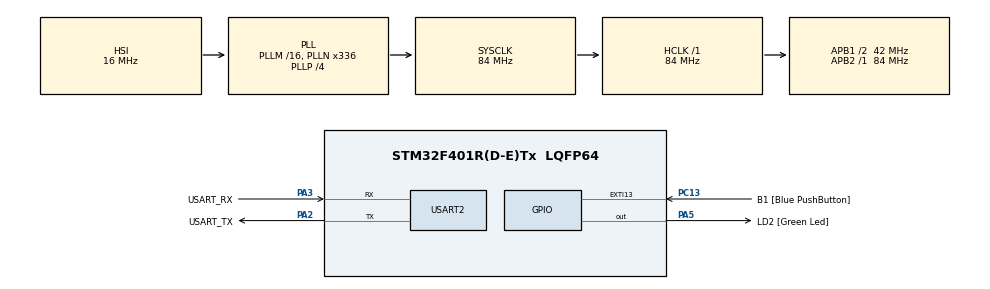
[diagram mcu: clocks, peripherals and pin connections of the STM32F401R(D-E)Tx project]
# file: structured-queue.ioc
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FREERTOS.Tasks01=defaultTask,0,128,StartDefaultTask,Default,NULL,Dynamic,NULL,NULL
FREERTOS.configUSE_NEWLIB_REENTRANT=1
Mcu.Family=STM32F4
Mcu.Name=STM32F401R(D-E)Tx
Mcu.Package=LQFP64
NVIC.PriorityGroup=NVIC_PRIORITYGROUP_4
NVIC.TIM1_UP_TIM10_IRQn=true\:15\:0\:false\:false\:true\:false\:false\:true\:true
NVIC.TimeBase=TIM1_UP_TIM10_IRQn
NVIC.TimeBaseIP=TIM1
PA13.GPIO_Label=TMS
PA13.Signal=SYS_JTMS-SWDIO
PA14.GPIO_Label=TCK
PA14.Signal=SYS_JTCK-SWCLK
PA2.GPIO_Label=USART_TX
PA2.GPIO_Mode=GPIO_MODE_AF_PP
PA2.GPIO_PuPd=GPIO_NOPULL
PA2.GPIO_Speed=GPIO_SPEED_FREQ_LOW
PA2.Mode=Asynchronous
PA2.Signal=USART2_TX
PA3.GPIO_Label=USART_RX
PA3.GPIO_Mode=GPIO_MODE_AF_PP
PA3.GPIO_PuPd=GPIO_NOPULL
PA3.GPIO_Speed=GPIO_SPEED_FREQ_LOW
PA3.Mode=Asynchronous
PA3.Signal=USART2_RX
PA5.GPIO_Label=LD2 [Green Led]
PA5.GPIO_Mode=GPIO_MODE_OUTPUT_PP
PA5.GPIO_PuPd=GPIO_NOPULL
PA5.GPIO_Speed=GPIO_SPEED_FREQ_LOW
PA5.Signal=GPIO_Output
PB3.GPIO_Label=SWO
PB3.Signal=SYS_JTDO-SWO
PC13-ANTI_TAMP.GPIO_Label=B1 [Blue PushButton]
PC13-ANTI_TAMP.GPIO_ModeDefaultEXTI=GPIO_MODE_IT_FALLING
PC13-ANTI_TAMP.GPIO_PuPd=GPIO_NOPULL
PC13-ANTI_TAMP.Signal=GPXTI13
PC14-OSC32_IN.Signal=RCC_OSC32_IN
PC15-OSC32_OUT.Signal=RCC_OSC32_OUT
PH0\ -\ OSC_IN.Mode=HSE-External-Oscillator
PH0\ -\ OSC_IN.Signal=RCC_OSC_IN
PH1\ -\ OSC_OUT.Mode=HSE-External-Oscillator
PH1\ -\ OSC_OUT.Signal=RCC_OSC_OUT
ProjectManager.HeapSize=0x200
ProjectManager.StackSize=0x400
ProjectManager.TargetToolchain=STM32CubeIDE
RCC.48MHZClocksFreq_Value=48000000
RCC.AHBFreq_Value=84000000
RCC.APB1CLKDivider=RCC_HCLK_DIV2
RCC.APB1Freq_Value=42000000
RCC.APB1TimFreq_Value=84000000
RCC.APB2Freq_Value=84000000
RCC.APB2TimFreq_Value=84000000
RCC.CortexFreq_Value=84000000
RCC.HCLKFreq_Value=84000000
RCC.HSE_VALUE=8000000
RCC.HSI_VALUE=16000000
RCC.PLLN=336
RCC.PLLP=RCC_PLLP_DIV4
RCC.PLLQ=7
RCC.SYSCLKFreq_VALUE=84000000
RCC.SYSCLKSource=RCC_SYSCLKSOURCE_PLLCLK
RCC.VCOOutputFreq_Value=336000000
USART2.VirtualMode=VM_ASYNC
VP_FREERTOS_VS_CMSIS_V1.Mode=CMSIS_V1
VP_SYS_VS_tim1.Mode=TIM1
board=NUCLEO-F401RE

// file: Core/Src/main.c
/* USER CODE BEGIN Header */
/**
  ******************************************************************************
  * @file           : main.c
  * @brief          : Main program body
  ******************************************************************************
  * @attention
  *
  * Copyright (c) 2026 STMicroelectronics.
  * All rights reserved.
  *
  * This software is licensed under terms that can be found in the LICENSE file
  * in the root directory of this software component.
  * If no LICENSE file comes with this software, it is provided AS-IS.
  *
  ******************************************************************************
  */
/* USER CODE END Header */
#include "main.h"
#include "cmsis_os.h"

/* USER CODE BEGIN Includes */
#include "FreeRTOS.h"
#include "task.h"
#include "timers.h"
#include "queue.h"
#include "semphr.h"
#include "event_groups.h"
#include "string.h"
#include "stdio.h"
/* USER CODE END Includes */

UART_HandleTypeDef huart2;

void SystemClock_Config(void);
static void MX_GPIO_Init(void);
static void MX_USART2_UART_Init(void);

/* USER CODE BEGIN 0 */

// Queue handler
xQueueHandle St_Queue_Handler;

// Task handler
xTaskHandle Sender1_Task_Handler;
xTaskHandle Sender2_Task_Handler;
xTaskHandle Receiver_Task_Handler;

// Task functions
void Sender1_Task (void *argument);
void Sender2_Task (void *argument);
void Receiver_Task (void *argument);

// Structure
typedef struct {
  char *str;
  int counter;
  uint16_t large_value;
} my_struct;

int indx1 = 0;
int indx2 = 0;

/* USER CODE END 0 */

int main(void)
{

  /* MCU Configuration--------------------------------------------------------*/

  /* Reset of all peripherals, Initializes the Flash interface and the Systick. */
  HAL_Init();

  /* Configure the system clock */
  SystemClock_Config();

  /* Initialize all configured peripherals */
  MX_GPIO_Init();
  MX_USART2_UART_Init();
  /* USER CODE BEGIN 2 */

  // create queue
  St_Queue_Handler = xQueueCreate(2, sizeof(my_struct));

  if (St_Queue_Handler == 0) // 0 means error
  {
    char *str = "Unable to create structure queue\r\n";
    HAL_UART_Transmit(&huart2, (uint8_t *)str, strlen(str), HAL_MAX_DELAY);
  }
  else
  {
    char *str = "Structure queue created successfully\r\n";
    HAL_UART_Transmit(&huart2, (uint8_t *)str, strlen(str), HAL_MAX_DELAY);
  }

  // create tasks
  xTaskCreate(Sender1_Task, "Sender1", 128, NULL, 2, &Sender1_Task_Handler);
  xTaskCreate(Sender2_Task, "Sender2", 128, NULL, 2, &Sender2_Task_Handler);
  xTaskCreate(Receiver_Task, "Receiver", 128, NULL, 1, &Receiver_Task_Handler);

  vTaskStartScheduler();

  /* USER CODE END 2 */

  /* Create the thread(s) */
  /* definition and creation of defaultTask */

  /* Start scheduler */

  /* We should never get here as control is now taken by the scheduler */

  /* Infinite loop */
  while (1)
  {

  }
}

void SystemClock_Config(void)
{
  RCC_OscInitTypeDef RCC_OscInitStruct = {0};
  RCC_ClkInitTypeDef RCC_ClkInitStruct = {0};

  /** Configure the main internal regulator output voltage
  */
  __HAL_RCC_PWR_CLK_ENABLE();
  __HAL_PWR_VOLTAGESCALING_CONFIG(PWR_REGULATOR_VOLTAGE_SCALE2);

  /** Initializes the RCC Oscillators according to the specified parameters
  * in the RCC_OscInitTypeDef structure.
  */
  RCC_OscInitStruct.OscillatorType = RCC_OSCILLATORTYPE_HSI;
  RCC_OscInitStruct.HSIState = RCC_HSI_ON;
  RCC_OscInitStruct.HSICalibrationValue = RCC_HSICALIBRATION_DEFAULT;
  RCC_OscInitStruct.PLL.PLLState = RCC_PLL_ON;
  RCC_OscInitStruct.PLL.PLLSource = RCC_PLLSOURCE_HSI;
  RCC_OscInitStruct.PLL.PLLM = 16;
  RCC_OscInitStruct.PLL.PLLN = 336;
  RCC_OscInitStruct.PLL.PLLP = RCC_PLLP_DIV4;
  RCC_OscInitStruct.PLL.PLLQ = 7;
  if (HAL_RCC_OscConfig(&RCC_OscInitStruct) != HAL_OK)
  {
    Error_Handler();
  }

  /** Initializes the CPU, AHB and APB buses clocks
  */
  RCC_ClkInitStruct.ClockType = RCC_CLOCKTYPE_HCLK|RCC_CLOCKTYPE_SYSCLK
                              |RCC_CLOCKTYPE_PCLK1|RCC_CLOCKTYPE_PCLK2;
  RCC_ClkInitStruct.SYSCLKSource = RCC_SYSCLKSOURCE_PLLCLK;
  RCC_ClkInitStruct.AHBCLKDivider = RCC_SYSCLK_DIV1;
  RCC_ClkInitStruct.APB1CLKDivider = RCC_HCLK_DIV2;
  RCC_ClkInitStruct.APB2CLKDivider = RCC_HCLK_DIV1;

  if (HAL_RCC_ClockConfig(&RCC_ClkInitStruct, FLASH_LATENCY_2) != HAL_OK)
  {
    Error_Handler();
  }
}

static void MX_USART2_UART_Init(void)
{

  huart2.Instance = USART2;
  huart2.Init.BaudRate = 115200;
  huart2.Init.WordLength = UART_WORDLENGTH_8B;
  huart2.Init.StopBits = UART_STOPBITS_1;
  huart2.Init.Parity = UART_PARITY_NONE;
  huart2.Init.Mode = UART_MODE_TX_RX;
  huart2.Init.HwFlowCtl = UART_HWCONTROL_NONE;
  huart2.Init.OverSampling = UART_OVERSAMPLING_16;
  if (HAL_UART_Init(&huart2) != HAL_OK)
  {
    Error_Handler();
  }

}

static void MX_GPIO_Init(void)
{
  GPIO_InitTypeDef GPIO_InitStruct = {0};

  /* GPIO Ports Clock Enable */
  __HAL_RCC_GPIOC_CLK_ENABLE();
  __HAL_RCC_GPIOH_CLK_ENABLE();
  __HAL_RCC_GPIOA_CLK_ENABLE();
  __HAL_RCC_GPIOB_CLK_ENABLE();

  /*Configure GPIO pin Output Level */
  HAL_GPIO_WritePin(LD2_GPIO_Port, LD2_Pin, GPIO_PIN_RESET);

  /*Configure GPIO pin : B1_Pin */
  GPIO_InitStruct.Pin = B1_Pin;
  GPIO_InitStruct.Mode = GPIO_MODE_IT_FALLING;
  GPIO_InitStruct.Pull = GPIO_NOPULL;
  HAL_GPIO_Init(B1_GPIO_Port, &GPIO_InitStruct);

  /*Configure GPIO pin : LD2_Pin */
  GPIO_InitStruct.Pin = LD2_Pin;
  GPIO_InitStruct.Mode = GPIO_MODE_OUTPUT_PP;
  GPIO_InitStruct.Pull = GPIO_NOPULL;
  GPIO_InitStruct.Speed = GPIO_SPEED_FREQ_LOW;
  HAL_GPIO_Init(LD2_GPIO_Port, &GPIO_InitStruct);

}

/* USER CODE BEGIN 4 */

void Sender1_Task (void *argument)
{
  my_struct *ptrtostruct;
  uint32_t TickDelay = pdMS_TO_TICKS(2000);
  while (1)
  {
    char *str = "Entered sender 1 task\r\nAbout to send to the queue\r\n";
    HAL_UART_Transmit(&huart2, (uint8_t *)str, strlen(str), HAL_MAX_DELAY);

    // allocate memory to the pointer
    ptrtostruct = pvPortMalloc(sizeof(my_struct));

    // load the data
    ptrtostruct->counter = 1 + indx1;
    ptrtostruct->large_value = 1000 + indx1 * 100;
    ptrtostruct->str = "Hello from sender 1";

    // send to the queue
    if (xQueueSend(St_Queue_Handler, &ptrtostruct, portMAX_DELAY) == pdPASS)
    {
      char *str2 = "Successfully sent to the queue\r\nLeaving sender 1 task\r\n";
      HAL_UART_Transmit(&huart2, (uint8_t *)str2, strlen(str2), HAL_MAX_DELAY);

    }
    indx1 = indx1 + 1;
    vTaskDelay(TickDelay);
  }
}

void Sender2_Task (void *argument)
{
  my_struct *ptrtostruct;
  uint32_t TickDelay = pdMS_TO_TICKS(2000);
  while(1)
  {
    char *str = "Entered sender2 task\r\nAbout to send to queue\r\n";
    HAL_UART_Transmit(&huart2, (uint8_t *)str, strlen(str), HAL_MAX_DELAY);

    // Allocate memory for the structure
    ptrtostruct = pvPortMalloc(sizeof(my_struct));

    // Load the data into the structure
    ptrtostruct->counter = 1 + indx2;
    ptrtostruct->large_value = 2000 + indx1 * 200;
    ptrtostruct->str = "Hello from sender 2";
    if (xQueueSend(St_Queue_Handler, &ptrtostruct, portMAX_DELAY) == pdPASS)
    {
      char *str2 = "Successfully sent to the queue\r\nLeaving sender 2 task\r\n";
      HAL_UART_Transmit(&huart2, (uint8_t *)str2, strlen(str2), HAL_MAX_DELAY);
    }
    indx2 = indx2 + 1;
    vTaskDelay(TickDelay);
  }
}

void Receiver_Task (void *argument)
{
  my_struct *Rptrtostruct;
  uint32_t TickDelay = pdMS_TO_TICKS(3000);
  char *ptr;
  while(1)
  {
    char *str = "Entered receiver task\r\nAbout to receive from the queue\r\n";
    HAL_UART_Transmit(&huart2, (uint8_t*)str, strlen(str), HAL_MAX_DELAY);
    // Receive from queue
    if (xQueueReceive(St_Queue_Handler, &Rptrtostruct, portMAX_DELAY) == pdPASS)
    {
      ptr = pvPortMalloc(100 * sizeof(char));
      sprintf(ptr, "Received from queue: \r\nCounter = %d\r\nLarge value = %u\r\nString = %s\r\n", Rptrtostruct->counter, Rptrtostruct->large_value, Rptrtostruct->str);
      HAL_UART_Transmit(&huart2, (uint8_t*)ptr, strlen(ptr), HAL_MAX_DELAY);
      vPortFree(ptr);
    }

    vPortFree(Rptrtostruct);
    vTaskDelay(TickDelay);
  }
}

/* USER CODE END 4 */

void StartDefaultTask(void const * argument)
{
  for(;;)
  {
    osDelay(1);
  }
}

void HAL_TIM_PeriodElapsedCallback(TIM_HandleTypeDef *htim)
{
  if (htim->Instance == TIM1)
  {
    HAL_IncTick();
  }
}

void Error_Handler(void)
{
  __disable_irq();
  while (1)
  {
  }
}
